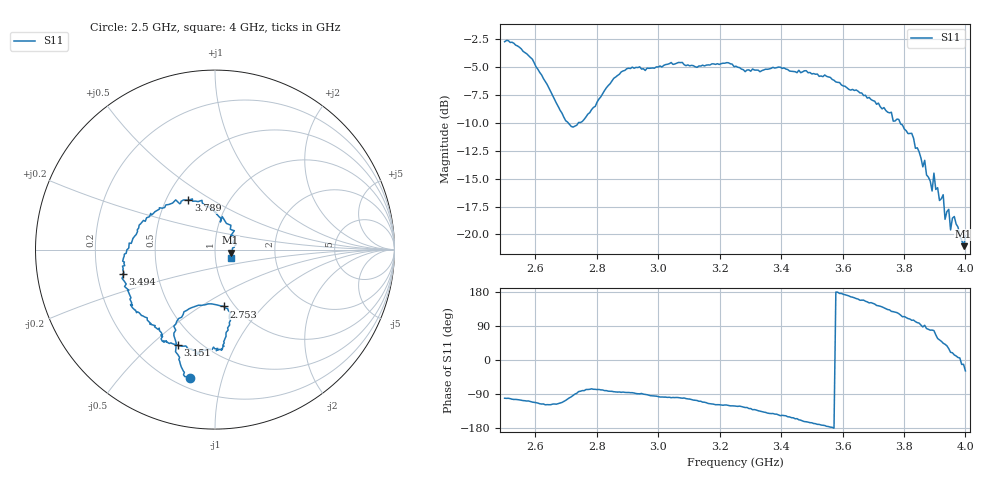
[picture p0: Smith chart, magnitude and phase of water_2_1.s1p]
# MHz S MA R 50
!  freq  S11
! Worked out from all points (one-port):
!   250 points, 2.5 GHz to 4 GHz, reference 50 ohm
!   lowest |S11| = -21.1 dB at 3.994 GHz (marker M1), VSWR 1.19, Z = 59.5 - j2.09 ohm
!   |S11| at or under -10 dB: 2.707 GHz to 2.74 GHz (33.07 MHz wide, 1.21 % of centre); 3.788 GHz to end of sweep
!   S11 on the Smith chart (normalised r, x): 2.5 GHz: 0.26, -0.79; 2.753 GHz: 0.90, -0.63; 3.151 GHz: 0.39, -0.61; 3.494 GHz: 0.31, -0.12; 3.789 GHz: 0.65, +0.39; 4 GHz: 1.18, -0.11
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2500  0.7309 -100.8
2578.313  0.6325 -108.2
2632.53  0.4846 -118.3
2692.771  0.3353 -109.4
2753.012  0.321 -80.7
2879.518  0.5349 -85.3
3066.265  0.5901 -99.3
3150.602  0.5692 -111.4
3253.012  0.5675 -121.7
3439.759  0.5379 -152.5
3493.976  0.5318 -165.3
3626.506  0.4434 166.8
3704.819  0.3955 147.7
3789.157  0.3126 118.5
3813.253  0.2831 109.3
3825.301  0.2839 104.8
3861.446  0.2008 87.3
3867.47  0.2148 91.5
3891.566  0.1565 79.0
3897.59  0.1882 77.6
3915.663  0.1419 53.1
3927.711  0.1507 44.3
3933.735  0.1168 41.5
3945.783  0.1295 29.9
3951.807  0.1047 20.2
3963.855  0.1203 13.4
3993.976  0.08857 -11.4
4000  0.09849 -28.7
